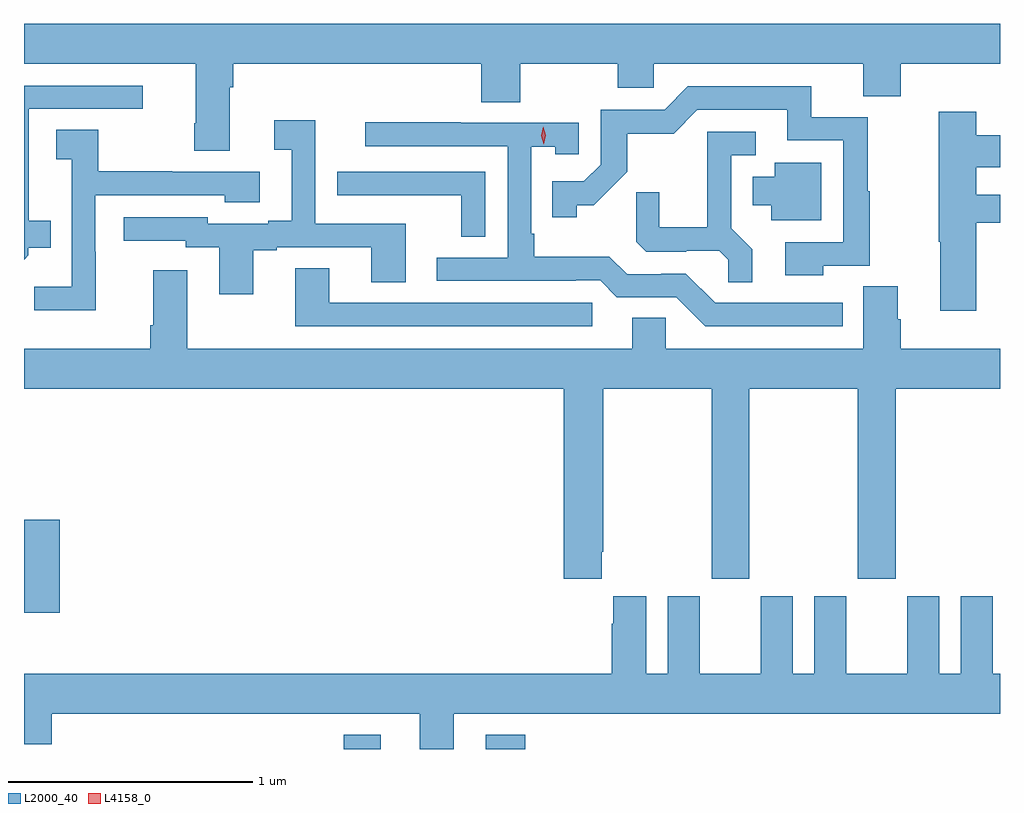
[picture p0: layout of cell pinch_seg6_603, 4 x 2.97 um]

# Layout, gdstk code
import gdstk
lib = gdstk.Library(unit=1e-6, precision=1e-09)
def R(c, l, rs):  # rectangles x0, y0, x1, y1
    for r in rs: c.add(gdstk.rectangle(r[:2], r[2:], *l))
def P(c, l, *ps):  # polygons
    for p in ps: c.add(gdstk.Polygon(p, *l))
L2000_40 = (2000, 40)
L4158_0 = (4158, 0)

pinch_seg6_603 = lib.new_cell('pinch_seg6_603')
R(pinch_seg6_603, L2000_40, [(457.277,960.511,457.429,960.571), (457.86,960.511,458.021,960.571), (455.967,961.071,456.113,961.452)])
P(pinch_seg6_603, L2000_40, [(455.967,963.32),(456.671,963.32),(456.671,963.076),(456.664,963.076),(456.664,962.964),(456.811,962.964),(456.811,963.224),(456.824,963.224),(456.824,963.32),(457.841,963.32),(457.841,963.163),(458.001,963.163),(458.001,963.32),(458.401,963.32),(458.401,963.222),(458.547,963.222),(458.547,963.32),(459.407,963.32),(459.407,963.187),(459.56,963.187),(459.56,963.32),(459.967,963.32),(459.967,963.484),(455.967,963.484)],
  [(455.985,962.535),(455.985,962.567),(456.077,962.567),(456.077,962.677),(455.986,962.677),(455.986,963.135),(456.454,963.135),(456.454,963.231),(455.967,963.231),(455.967,962.517)],
  [(459.243,962.493),(459.433,962.493),(459.433,962.798),(459.425,962.798),(459.425,963.102),(459.194,963.102),(459.194,963.228),(458.688,963.228),(458.592,963.132),(458.331,963.132),(458.331,962.907),(458.262,962.838),(458.131,962.838),(458.131,962.691),(458.232,962.691),(458.232,962.741),(458.302,962.741),(458.44,962.878),(458.44,963.034),(458.629,963.034),(458.727,963.132),(459.095,963.132),(459.095,963.006),(459.324,963.006),(459.324,962.589),(459.087,962.589),(459.087,962.453),(459.243,962.453)],
  [(459.869,962.668),(459.967,962.668),(459.967,962.784),(459.869,962.784),(459.869,962.897),(459.967,962.897),(459.967,963.027),(459.869,963.027),(459.869,963.124),(459.715,963.124),(459.715,962.591),(459.722,962.591),(459.722,962.307),(459.869,962.307)],
  [(456.907,962.556),(457.003,962.556),(457.003,962.568),(457.391,962.568),(457.391,962.425),(457.531,962.425),(457.531,962.664),(457.161,962.664),(457.161,963.088),(456.993,963.088),(456.993,962.968),(457.064,962.968),(457.064,962.677),(456.968,962.677),(456.968,962.664),(456.72,962.664),(456.72,962.691),(456.375,962.691),(456.375,962.595),(456.63,962.595),(456.63,962.568),(456.767,962.568),(456.767,962.376),(456.907,962.376)],
  [(459.322,962.34),(458.799,962.34),(458.679,962.46),(458.578,962.46),(458.578,962.457),(458.439,962.457),(458.366,962.53),(458.059,962.53),(458.059,962.623),(458.046,962.623),(458.046,962.981),(458.145,962.981),(458.145,962.949),(458.241,962.949),(458.241,963.078),(457.757,963.078),(457.757,963.081),(457.365,963.081),(457.365,962.982),(457.95,962.982),(457.95,962.526),(457.659,962.526),(457.659,962.43),(458.228,962.43),(458.228,962.433),(458.328,962.433),(458.397,962.364),(458.64,962.364),(458.76,962.244),(459.322,962.244)],
  [(456.261,962.549),(456.258,962.549),(456.258,962.781),(456.789,962.781),(456.789,962.753),(456.934,962.753),(456.934,962.877),(456.575,962.877),(456.575,962.88),(456.271,962.88),(456.271,963.05),(456.099,963.05),(456.099,962.929),(456.162,962.929),(456.162,962.407),(456.009,962.407),(456.009,962.309),(456.261,962.309)],
  [(458.951,962.561),(458.865,962.647),(458.865,962.946),(458.965,962.946),(458.965,963.042),(458.768,963.042),(458.768,962.65),(458.57,962.65),(458.57,962.793),(458.476,962.793),(458.476,962.591),(458.517,962.55),(458.682,962.55),(458.682,962.553),(458.816,962.553),(458.853,962.516),(458.853,962.425),(458.951,962.425)],
  [(459.235,962.914),(459.044,962.914),(459.044,962.857),(458.954,962.857),(458.954,962.741),(459.029,962.741),(459.029,962.678),(459.235,962.678)],
  [(457.857,962.877),(457.251,962.877),(457.251,962.782),(457.363,962.782),(457.363,962.781),(457.759,962.781),(457.759,962.611),(457.857,962.611)],
  [(458.296,962.34),(457.219,962.34),(457.219,962.483),(457.079,962.483),(457.079,962.244),(458.296,962.244)],
  [(458.335,961.321),(458.34,961.321),(458.34,961.988),(458.785,961.988),(458.785,961.209),(458.94,961.209),(458.94,961.988),(459.385,961.988),(459.385,961.209),(459.54,961.209),(459.54,961.988),(459.967,961.988),(459.967,962.152),(459.56,962.152),(459.56,962.274),(459.547,962.274),(459.547,962.408),(459.407,962.408),(459.407,962.152),(458.598,962.152),(458.598,962.279),(458.459,962.279),(458.459,962.152),(456.637,962.152),(456.637,962.473),(456.497,962.473),(456.497,962.248),(456.485,962.248),(456.485,962.152),(455.967,962.152),(455.967,961.988),(458.18,961.988),(458.18,961.209),(458.335,961.209)],
  [(459.967,960.82),(459.937,960.82),(459.937,961.138),(459.806,961.138),(459.806,960.82),(459.718,960.82),(459.718,961.138),(459.587,961.138),(459.587,960.82),(459.337,960.82),(459.337,961.138),(459.206,961.138),(459.206,960.82),(459.118,960.82),(459.118,961.138),(458.987,961.138),(458.987,960.82),(458.737,960.82),(458.737,961.138),(458.606,961.138),(458.606,960.82),(458.518,960.82),(458.518,961.138),(458.381,961.138),(458.381,961.025),(458.375,961.025),(458.375,960.82),(455.967,960.82),(455.967,960.532),(456.08,960.532),(456.08,960.656),(457.589,960.656),(457.589,960.511),(457.728,960.511),(457.728,960.656),(459.967,960.656)])
P(pinch_seg6_603, L4158_0, [(458.097,962.99),(458.097,962.991),(458.086,963.026),(458.095,963.063),(458.096,963.063),(458.096,963.063),(458.106,963.027),(458.097,962.991)])

lib.write_gds('pinch_seg6_603.gds')
